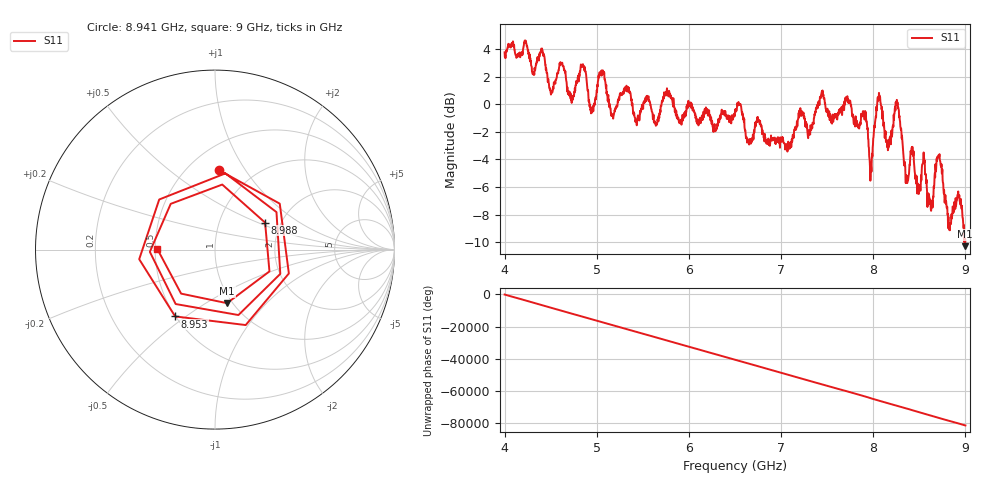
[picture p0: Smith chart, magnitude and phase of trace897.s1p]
! Created with skrf 1.8.0 (http://scikit-rf.org).
# Hz S RI R 50.0
!freq ReS11 ImS11
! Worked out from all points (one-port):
!   1601 points, 4 GHz to 9 GHz, reference 50 ohm
!   lowest |S11| = -10.3 dB at 8.994 GHz (marker M1), VSWR 1.88, Z = 47.2 - j31.1 ohm
!   |S11| at or under -10 dB: 8.992496 GHz to 8.998777 GHz (6.281 MHz wide, 0.0698 % of centre)
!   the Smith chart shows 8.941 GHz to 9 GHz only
!   S11 on the Smith chart (normalised r, x): 8.941 GHz: 0.70, +0.77; 8.953 GHz: 0.50, -0.46; 8.988 GHz: 1.66, +0.55; 9 GHz: 0.51, +0.00
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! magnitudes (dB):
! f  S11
! 4 GHz  3.8
! 4.406 GHz  4.0
! 4.506 GHz  0.9
! 4.625 GHz  3.0
! 4.728 GHz  0.1
! 4.853 GHz  2.8
! 4.947 GHz  -0.6
! 5.053 GHz  2.1
! 5.25 GHz  0.7
! 5.875 GHz  -0.9
! 6.5 GHz  -0.5
! 7.125 GHz  -2.3
! 7.75 GHz  0.3
! 7.909 GHz  -0.7
! 7.972 GHz  -5.1
! 8.059 GHz  0.3
! 8.166 GHz  -2.6
! 8.259 GHz  -0.1
! 8.375 GHz  -5.5
! 8.55 GHz  -3.9
! 8.628 GHz  -7.7
! 8.712 GHz  -3.8
! 8.822 GHz  -9.0
! 8.941 GHz  -7.1
! 8.953 GHz  -7.3
! 8.988 GHz  -10.0
! 8.994 GHz  -10.3
! 9 GHz  -9.9
